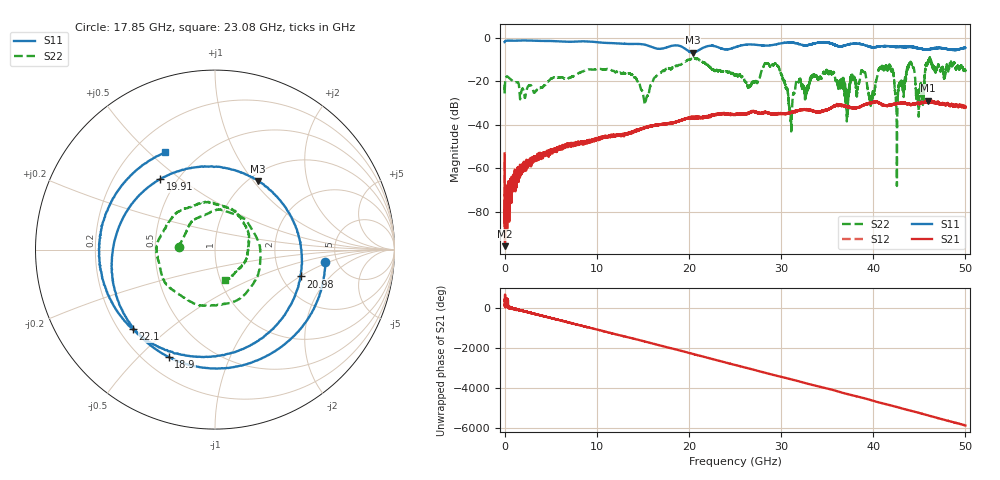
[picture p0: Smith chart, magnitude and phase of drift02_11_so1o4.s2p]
!Created with skrf (http://scikit-rf.org).
# Hz S RI R 50.0
!freq ReS11 ImS11 ReS21 ImS21 ReS12 ImS12 ReS22 ImS22
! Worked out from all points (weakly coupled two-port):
!   10001 points, 300 kHz to 50 GHz, reference 50 ohm
!   highest |S21| = -29.07 dB at 45.96 GHz (marker M1); lowest = -95.9 dB at 45.3 MHz (marker M2)
!   lowest |S11| = -6.9 dB at 20.41 GHz (marker M3), VSWR 2.64, Z = 54.9 + j52.5 ohm
!   |S11| at or under -10 dB: nowhere
!   |S22| runs from -68.2 to -9.0 dB; largest |S21 - S12| = 0.0032
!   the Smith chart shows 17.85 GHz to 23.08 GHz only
!   S11 on the Smith chart (normalised r, x): 17.85 GHz: 4.03, -0.89; 18.9 GHz: 0.30, -0.62; 19.91 GHz: 0.40, +0.42; 20.98 GHz: 2.53, -1.01; 22.1 GHz: 0.25, -0.38; 23.08 GHz: 0.32, +0.56
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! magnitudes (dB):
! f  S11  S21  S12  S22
! 300 kHz  -2.1  -53.2  -57.2  -21.7
! 45.3 MHz  -1.7  -95.9  -78.3  -21.0
! 8.335 GHz  -1.7  -48.1  -48.8  -15.8
! 15.31 GHz  -3.4  -41.5  -41.2  -29.3
! 16.67 GHz  -5.2  -39.9  -40.2  -16.9
! 17.85 GHz  -4.2  -39.7  -39.6  -14.0
! 18.9 GHz  -3.7  -38.5  -38.4  -12.6
! 19.91 GHz  -6.1  -37.2  -37.0  -10.2
! 20.41 GHz  -6.9  -36.8  -36.8  -9.9
! 20.98 GHz  -6.0  -36.5  -36.9  -9.8
! 22.1 GHz  -3.9  -36.1  -36.2  -12.9
! 23.08 GHz  -4.3  -35.1  -35.5  -15.1
! 25 GHz  -4.5  -35.4  -35.4  -17.4
! 29.5 GHz  -3.1  -35.0  -35.3  -12.5
! 31.04 GHz  -2.3  -34.5  -34.6  -34.5
! 33.34 GHz  -3.0  -33.5  -33.5  -17.7
! 38.92 GHz  -3.3  -31.1  -31.1  -16.0
! 39.73 GHz  -4.4  -30.1  -30.0  -31.4
! 41.67 GHz  -4.0  -30.9  -31.1  -13.4
! 42.56 GHz  -4.3  -30.5  -30.3  -44.4
! 45.96 GHz  -5.5  -29.1  -29.4  -11.4
! 50 GHz  -4.7  -32.2  -32.0  -15.2
